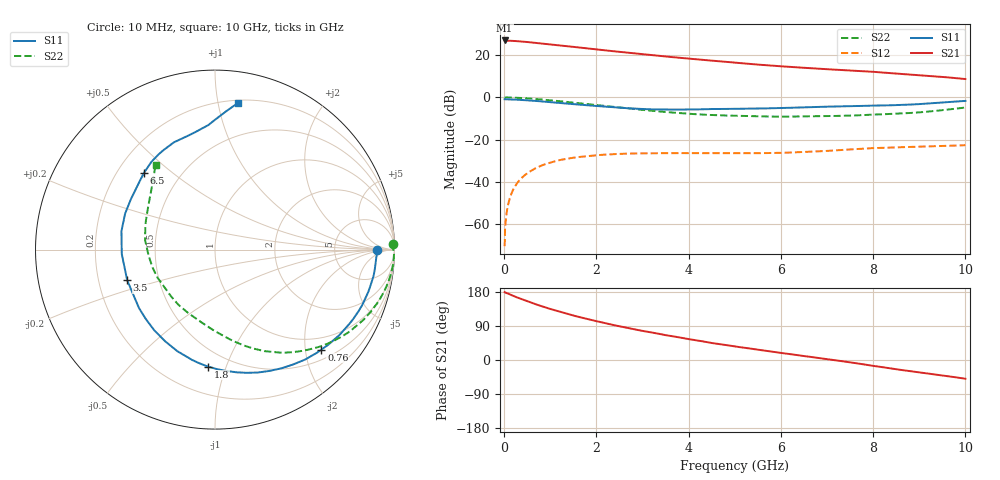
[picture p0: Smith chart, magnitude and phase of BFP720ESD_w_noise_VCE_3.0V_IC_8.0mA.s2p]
! Infineon Technologies  Discrete & RF Semiconductors
! BFP720ESD
! VCE =  3.0 V,  IC =  8.0 mA
! Common Emitter S-Parameters:  Jan 2016
# GHz  S  MA  R  50
!  f  S11  S21  S12  S22
! GHz  MAG  ANG  MAG  ANG  MAG  ANG  MAG  ANG
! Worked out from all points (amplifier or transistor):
!   233 points, 10 MHz to 10 GHz, reference 50 ohm
!   highest |S21| = 27.0 dB at 10 MHz (marker M1)
!   |S21| within 3 dB of that: start of sweep to 1.487 GHz
!   unconditionally stable (mu >= 1): start of sweep to 11.02 MHz; 5.331 GHz to 9.048 GHz
!   at 200 MHz: K = 0.07, MSG = 35.1 dB, |S12| = -43.5 dB
!   at 1.74 GHz: K = 0.35, MSG = 25.6 dB, |S12| = -27.9 dB
!   at 10 GHz: K = 0.70, MSG = 15.7 dB, |S12| = -22.6 dB
!   lowest NFmin = 0.62 dB at 450 MHz
!   S11 on the Smith chart (normalised r, x): 10 MHz: 20, +0; 760 MHz: 0.71, -2.34; 1.8 GHz: 0.38, -0.87; 3.5 GHz: 0.33, -0.15; 6.5 GHz: 0.31, +0.40; 10 GHz: 0.22, +1.14
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0.01  0.905 0.0  22.34 179.1  0.0003 -17.6  0.9896 1.9
0.03  0.9027 -1.6  22.05 177.8  0.0011 80.9  0.9947 -0.7
0.105  0.8975 -6.3  22.03 174.2  0.0035 86.6  0.9966 -3.9
0.24  0.8878 -14.2  21.61 167.0  0.008 80.7  0.9863 -9.1
0.4  0.8698 -23.4  20.98 159.4  0.013 75.2  0.9661 -15.0
0.6  0.8407 -34.6  20.04 150.4  0.0188 68.5  0.9337 -21.9
0.76  0.8137 -43.2  19.26 144.0  0.0231 63.5  0.9038 -27.0
0.94  0.784 -52.7  18.41 136.9  0.0274 58.1  0.8684 -32.7
1.2  0.7403 -66.0  17.18 127.4  0.0327 51.1  0.8146 -40.3
1.68  0.6681 -88.2  14.99 111.7  0.0396 40.2  0.7196 -52.4
1.8  0.6531 -93.4  14.46 108.1  0.0408 37.8  0.6987 -55.2
2.2  0.6038 -110.3  12.99 96.9  0.0443 30.9  0.6295 -64.0
2.58  0.5639 -126.1  11.75 86.9  0.0463 25.2  0.5665 -72.0
3  0.534 -142.6  10.54 76.8  0.0474 20.2  0.5069 -80.6
3.4  0.517 -157.1  9.537 68.1  0.0477 16.8  0.462 -88.3
3.5  0.5181 -160.8  9.325 65.6  0.0478 15.9  0.4522 -90.5
4.5  0.5311 168.9  7.444 44.9  0.0481 10.4  0.3832 -113.1
5.1  0.5397 156.4  6.501 34.1  0.0478 9.2  0.3656 -125.5
6.5  0.5831 132.6  5.033 10.4  0.0509 10.5  0.3569 -154.5
6.8  0.5946 128.5  4.797 5.6  0.0528 10.7  0.3588 -160.3
8.4  0.652 103.3  3.741 -22.6  0.0652 4.2  0.4072 162.6
10  0.8267 81.1  2.725 -49.5  0.0739 -4.8  0.5762 125.1
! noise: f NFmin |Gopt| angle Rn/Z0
0.45  0.62  0.34  4  0.12
0.9  0.66  0.33  11  0.14
1.9  0.68  0.28  27  0.13
2.4  0.71  0.26  32  0.13
5.5  0.88  0.04  109  0.09
10  1.4  0.52  -95  0.36
